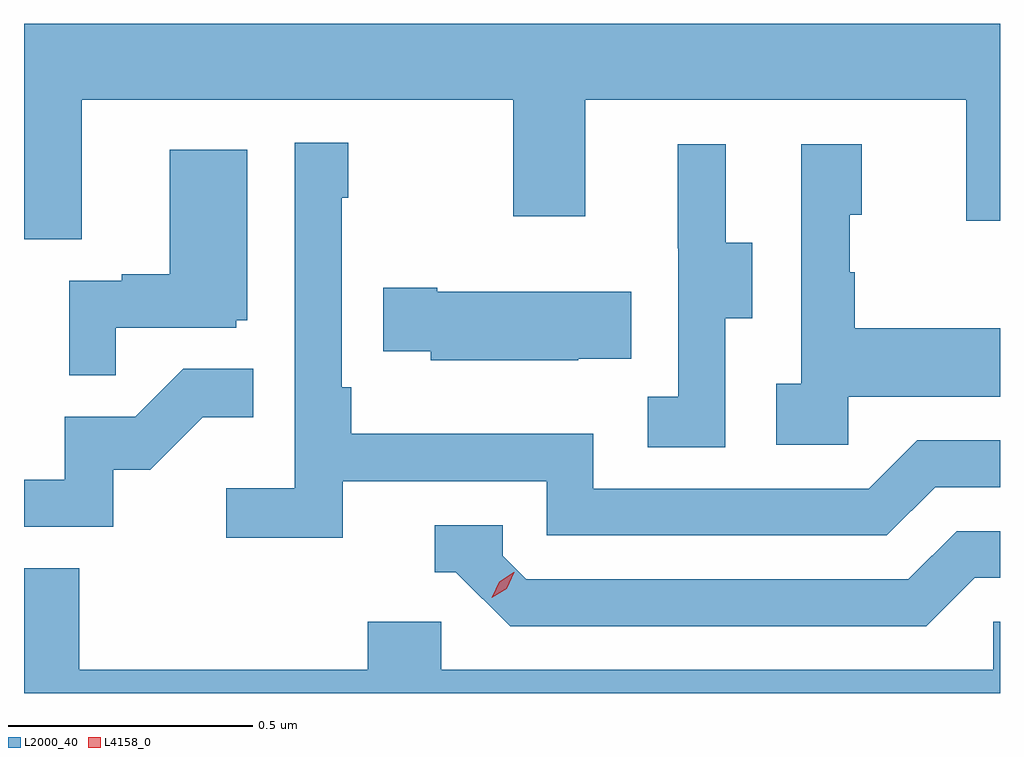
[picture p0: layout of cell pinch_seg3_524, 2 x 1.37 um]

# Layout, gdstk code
import gdstk
lib = gdstk.Library(unit=1e-6, precision=1e-09)
def P(c, l, *ps):  # polygons
    for p in ps: c.add(gdstk.Polygon(p, *l))
L2000_40 = (2000, 40)
L4158_0 = (4158, 0)

pinch_seg3_524 = lib.new_cell('pinch_seg3_524')
P(pinch_seg3_524, L2000_40, [(972.799,667.616),(973.684,667.616),(973.684,667.377),(973.831,667.377),(973.831,667.616),(974.612,667.616),(974.612,667.368),(974.681,667.368),(974.681,667.771),(972.681,667.771),(972.681,667.33),(972.799,667.33)],
  [(973.334,666.834),(973.752,666.834),(973.752,666.723),(974.449,666.723),(974.548,666.822),(974.681,666.822),(974.681,666.918),(974.511,666.918),(974.412,666.819),(973.848,666.819),(973.848,666.931),(973.352,666.931),(973.352,667.027),(973.332,667.027),(973.332,667.415),(973.345,667.415),(973.345,667.528),(973.236,667.528),(973.236,666.82),(973.095,666.82),(973.095,666.718),(973.334,666.718)],
  [(974.118,667.168),(974.173,667.168),(974.173,667.323),(974.119,667.323),(974.119,667.525),(974.021,667.525),(974.021,667.311),(974.022,667.311),(974.022,667.007),(973.959,667.007),(973.959,666.904),(974.118,666.904)],
  [(974.37,667.007),(974.681,667.007),(974.681,667.147),(974.383,667.147),(974.383,667.262),(974.373,667.262),(974.373,667.38),(974.398,667.38),(974.398,667.525),(974.274,667.525),(974.274,667.034),(974.223,667.034),(974.223,666.909),(974.37,666.909)],
  [(972.869,667.149),(973.116,667.149),(973.116,667.164),(973.138,667.164),(973.138,667.513),(972.98,667.513),(972.98,667.258),(972.881,667.258),(972.881,667.245),(972.774,667.245),(972.774,667.051),(972.869,667.051)],
  [(973.817,667.085),(973.925,667.085),(973.925,667.222),(973.528,667.222),(973.528,667.23),(973.417,667.23),(973.417,667.1),(973.515,667.1),(973.515,667.082),(973.817,667.082)],
  [(972.864,666.858),(972.94,666.858),(973.047,666.965),(973.151,666.965),(973.151,667.064),(973.007,667.064),(972.909,666.966),(972.765,666.966),(972.765,666.837),(972.681,666.837),(972.681,666.741),(972.864,666.741)],
  [(974.629,666.636),(974.681,666.636),(974.681,666.732),(974.592,666.732),(974.493,666.633),(973.71,666.633),(973.662,666.681),(973.662,666.744),(973.523,666.744),(973.523,666.648),(973.566,666.648),(973.677,666.537),(974.53,666.537)],
  [(974.681,666.546),(974.667,666.546),(974.667,666.448),(973.536,666.448),(973.536,666.546),(973.385,666.546),(973.385,666.448),(972.794,666.448),(972.794,666.656),(972.681,666.656),(972.681,666.4),(974.681,666.4)])
P(pinch_seg3_524, L4158_0, [(973.639,666.595),(973.639,666.595),(973.655,666.628),(973.685,666.647),(973.686,666.647),(973.686,666.647),(973.67,666.614),(973.639,666.595)])

lib.write_gds('pinch_seg3_524.gds')
